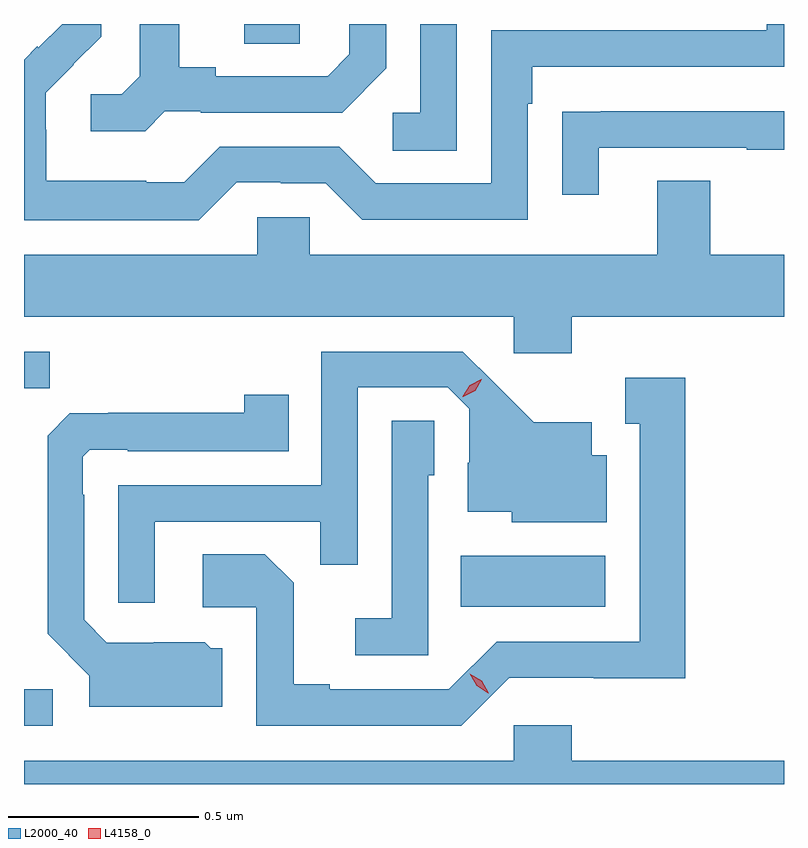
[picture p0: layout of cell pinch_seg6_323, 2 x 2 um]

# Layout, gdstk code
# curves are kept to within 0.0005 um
import gdstk
lib = gdstk.Library(unit=1e-6, precision=1e-09)
def R(c, l, rs):  # rectangles x0, y0, x1, y1
    for r in rs: c.add(gdstk.rectangle(r[:2], r[2:], *l))
def P(c, l, *ps):  # polygons
    for p in ps: c.add(gdstk.Polygon(p, *l))
L2000_40 = (2000, 40)
L4158_0 = (4158, 0)

pinch_seg6_323 = lib.new_cell('pinch_seg6_323')
R(pinch_seg6_323, L2000_40, [(638.827,974.232,638.902,974.328), (639.976,974.546,640.357,974.68), (638.827,975.121,638.895,975.216), (639.407,976.027,639.552,976.079)])
P(pinch_seg6_323, L2000_40, [(639.198,975.849),(639.292,975.849),(639.292,975.846),(639.664,975.846),(639.78,975.962),(639.78,976.079),(639.683,976.079),(639.683,975.999),(639.626,975.942),(639.331,975.942),(639.331,975.965),(639.235,975.965),(639.235,976.079),(639.131,976.079),(639.131,975.941),(639.084,975.894),(639.003,975.894),(639.003,975.797),(639.146,975.797)],
  [(639.966,976.079),(639.87,976.079),(639.87,975.846),(639.798,975.846),(639.798,975.745),(639.966,975.745)],
  [(639.387,975.663),(639.503,975.663),(639.503,975.66),(639.621,975.66),(639.717,975.564),(640.152,975.564),(640.152,975.869),(640.165,975.869),(640.165,975.966),(640.827,975.966),(640.827,976.079),(640.781,976.079),(640.781,976.062),(640.056,976.062),(640.056,975.66),(639.753,975.66),(639.657,975.756),(639.342,975.756),(639.249,975.663),(639.149,975.663),(639.149,975.667),(638.886,975.667),(638.886,975.801),(638.884,975.801),(638.884,975.898),(638.958,975.972),(638.957,975.973),(639.03,976.046),(639.03,976.079),(638.927,976.079),(638.865,976.017),(638.862,976.02),(638.827,975.985),(638.827,975.563),(639.287,975.563)],
  [(640.339,975.753),(640.729,975.753),(640.729,975.748),(640.827,975.748),(640.827,975.849),(640.345,975.849),(640.345,975.848),(640.243,975.848),(640.243,975.63),(640.339,975.63)],
  [(640.268,975.308),(640.827,975.308),(640.827,975.472),(640.633,975.472),(640.633,975.667),(640.493,975.667),(640.493,975.472),(639.579,975.472),(639.579,975.57),(639.441,975.57),(639.441,975.472),(638.827,975.472),(638.827,975.308),(640.116,975.308),(640.116,975.213),(640.268,975.213)],
  [(639.171,974.769),(639.607,974.769),(639.607,974.656),(639.705,974.656),(639.705,975.123),(639.942,975.123),(639.999,975.066),(639.999,974.924),(639.995,974.924),(639.995,974.795),(640.11,974.795),(640.11,974.768),(640.36,974.768),(640.36,974.944),(640.321,974.944),(640.321,975.031),(640.169,975.031),(639.982,975.216),(639.609,975.216),(639.609,974.865),(639.075,974.865),(639.075,974.556),(639.171,974.556)],
  [(640.104,974.358),(640.326,974.358),(640.326,974.357),(640.567,974.357),(640.567,975.148),(640.409,975.148),(640.409,975.027),(640.448,975.027),(640.448,974.454),(640.071,974.454),(639.945,974.328),(639.631,974.328),(639.631,974.341),(639.537,974.341),(639.537,974.608),(639.461,974.684),(639.297,974.684),(639.297,974.544),(639.438,974.544),(639.438,974.232),(639.978,974.232)],
  [(639.349,974.436),(639.318,974.436),(639.302,974.452),(639.168,974.452),(639.168,974.451),(639.045,974.451),(638.985,974.511),(638.985,974.84),(638.982,974.84),(638.982,974.94),(639,974.958),(639.1,974.958),(639.1,974.955),(639.524,974.955),(639.524,975.103),(639.406,975.103),(639.406,975.056),(639.049,975.056),(639.049,975.055),(638.948,975.055),(638.889,974.996),(638.889,974.474),(638.999,974.364),(638.999,974.282),(639.349,974.282)],
  [(639.891,974.892),(639.906,974.892),(639.906,975.035),(639.795,975.035),(639.795,974.515),(639.699,974.515),(639.699,974.418),(639.891,974.418)],
  [(640.827,974.14),(640.268,974.14),(640.268,974.233),(640.116,974.233),(640.116,974.14),(638.827,974.14),(638.827,974.079),(640.827,974.079)])
P(pinch_seg6_323, L4158_0, [(640.049,974.318),(640.018,974.337),(640,974.369),(640,974.369),(640,974.369),(640.032,974.351),(640.05,974.318),(640.05,974.318)],
  [(639.982,975.098),(639.982,975.099),(640,975.129),(640.03,975.144),(640.031,975.144),(640.031,975.144),(640.014,975.114),(639.983,975.098)])

lib.write_gds('pinch_seg6_323.gds')
